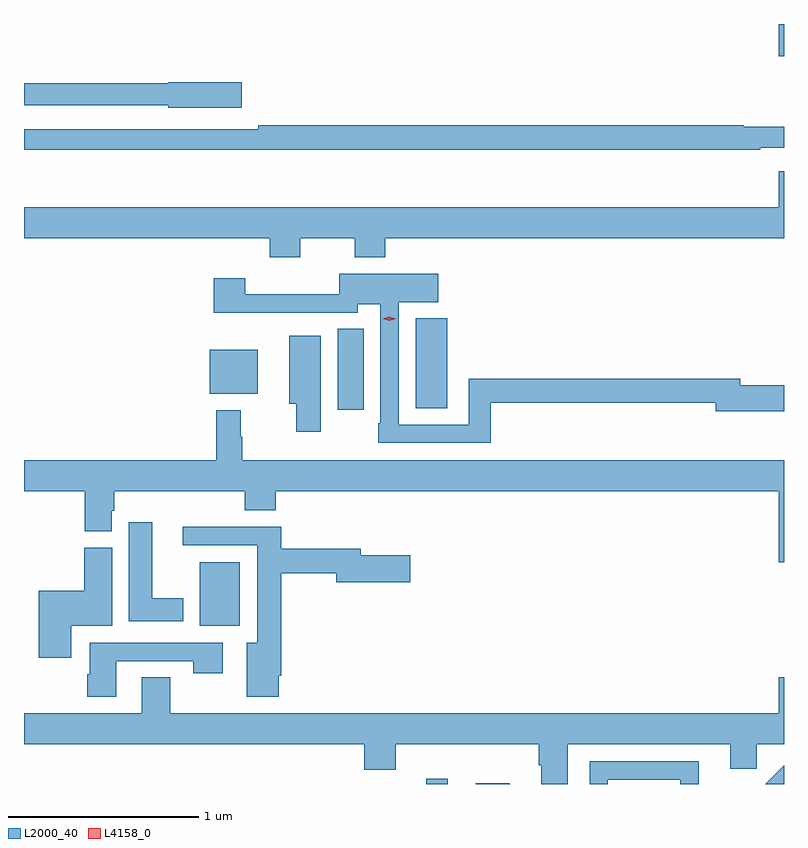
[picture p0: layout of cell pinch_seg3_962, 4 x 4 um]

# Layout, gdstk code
import gdstk
lib = gdstk.Library(unit=1e-6, precision=1e-09)
def R(c, l, rs):  # rectangles x0, y0, x1, y1
    for r in rs: c.add(gdstk.rectangle(r[:2], r[2:], *l))
def P(c, l, *ps):  # polygons
    for p in ps: c.add(gdstk.Polygon(p, *l))
L2000_40 = (2000, 40)
L4158_0 = (4158, 0)

pinch_seg3_962 = lib.new_cell('pinch_seg3_962')
R(pinch_seg3_962, L2000_40, [(414.9,723.352,415.015,723.379), (413.708,724.184,413.92,724.519), (414.434,725.322,414.571,725.747), (414.845,725.329,415.012,725.803), (413.762,725.405,414.013,725.638), (416.756,727.182,416.784,727.352)])
P(pinch_seg3_962, L2000_40, [(413.929,727.046),(413.544,727.046),(413.544,727.04),(412.784,727.04),(412.784,726.924),(413.544,726.924),(413.544,726.911),(413.929,726.911)],
  [(416.66,726.702),(416.784,726.702),(416.784,726.811),(416.572,726.811),(416.572,726.818),(414.016,726.818),(414.016,726.798),(412.784,726.798),(412.784,726.69),(416.66,726.69)],
  [(414.237,726.224),(414.526,726.224),(414.526,726.125),(414.686,726.125),(414.686,726.224),(416.784,726.224),(416.784,726.577),(416.756,726.577),(416.756,726.388),(412.784,726.388),(412.784,726.224),(414.077,726.224),(414.077,726.125),(414.237,726.125)],
  [(415.241,725.358),(416.426,725.358),(416.426,725.315),(416.784,725.315),(416.784,725.45),(416.554,725.45),(416.554,725.486),(415.125,725.486),(415.125,725.244),(414.756,725.244),(414.756,725.888),(414.964,725.888),(414.964,726.037),(414.444,726.037),(414.444,725.93),(413.948,725.93),(413.948,726.013),(413.783,726.013),(413.783,725.831),(414.031,725.831),(414.031,725.832),(414.54,725.832),(414.54,725.876),(414.66,725.876),(414.66,725.251),(414.648,725.251),(414.648,725.148),(415.241,725.148)],
  [(414.346,725.71),(414.179,725.71),(414.179,725.354),(414.217,725.354),(414.217,725.205),(414.346,725.205)],
  [(416.784,725.056),(413.933,725.056),(413.933,725.18),(413.926,725.18),(413.926,725.32),(413.797,725.32),(413.797,725.056),(412.784,725.056),(412.784,724.892),(413.105,724.892),(413.105,724.681),(413.245,724.681),(413.245,724.791),(413.258,724.791),(413.258,724.892),(413.945,724.892),(413.945,724.793),(414.11,724.793),(414.11,724.892),(416.756,724.892),(416.756,724.518),(416.784,724.518)],
  [(413.623,724.33),(413.458,724.33),(413.458,724.729),(413.336,724.729),(413.336,724.208),(413.623,724.208)],
  [(414.124,723.922),(414.137,723.922),(414.137,724.462),(414.428,724.462),(414.428,724.415),(414.817,724.415),(414.817,724.557),(414.556,724.557),(414.556,724.591),(414.137,724.591),(414.137,724.706),(413.619,724.706),(413.619,724.608),(414.011,724.608),(414.011,724.096),(413.957,724.096),(413.957,723.81),(414.124,723.81)],
  [(413.032,724.184),(413.248,724.184),(413.248,724.596),(413.102,724.596),(413.102,724.369),(412.862,724.369),(412.862,724.017),(413.032,724.017)],
  [(413.269,723.999),(413.674,723.999),(413.674,723.936),(413.83,723.936),(413.83,724.095),(413.129,724.095),(413.129,723.929),(413.117,723.929),(413.117,723.81),(413.269,723.81)],
  [(415.645,723.56),(416.501,723.56),(416.501,723.433),(416.64,723.433),(416.64,723.56),(416.784,723.56),(416.784,723.913),(416.756,723.913),(416.756,723.724),(413.553,723.724),(413.553,723.914),(413.405,723.914),(413.405,723.724),(412.784,723.724),(412.784,723.56),(414.575,723.56),(414.575,723.427),(414.74,723.427),(414.74,723.56),(415.493,723.56),(415.493,723.451),(415.506,723.451),(415.506,723.352),(415.645,723.352)],
  [(415.857,723.375),(416.238,723.375),(416.238,723.352),(416.335,723.352),(416.335,723.471),(415.761,723.471),(415.761,723.352),(415.857,723.352)],
  [(416.784,723.45),(416.686,723.352),(416.784,723.352)],
  [(415.339,723.356),(415.161,723.356),(415.161,723.352),(415.343,723.352)])
P(pinch_seg3_962, L4158_0, [(414.707,725.791),(414.672,725.8),(414.672,725.801),(414.672,725.801),(414.707,725.811),(414.742,725.802),(414.742,725.802),(414.742,725.802)])

lib.write_gds('pinch_seg3_962.gds')
